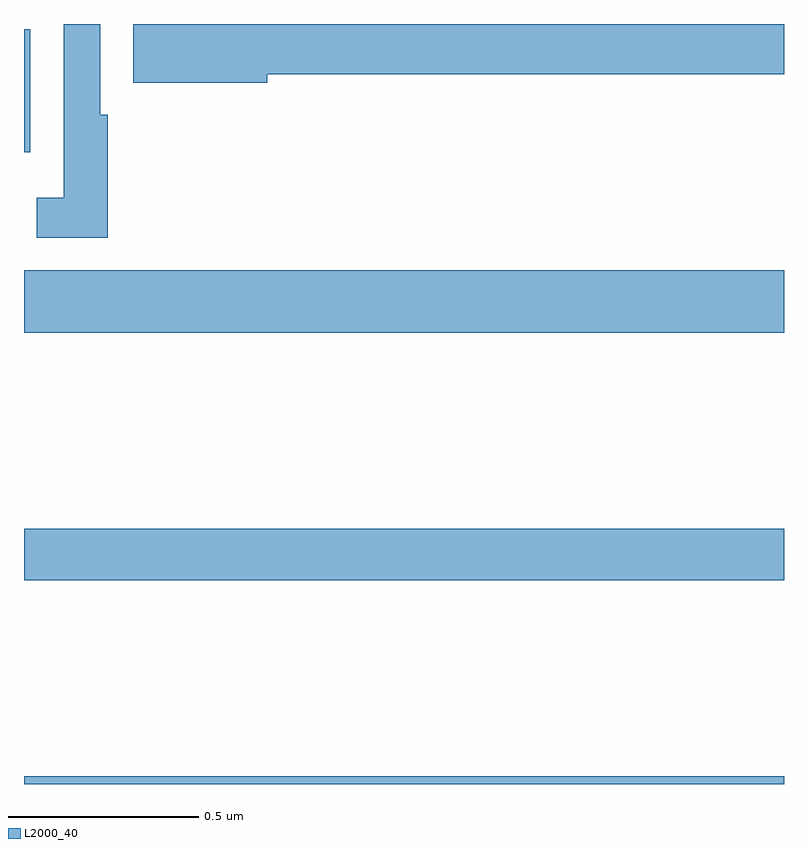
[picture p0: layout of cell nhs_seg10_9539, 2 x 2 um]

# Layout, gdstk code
import gdstk
lib = gdstk.Library(unit=1e-6, precision=1e-09)
def R(c, l, rs):  # rectangles x0, y0, x1, y1
    for r in rs: c.add(gdstk.rectangle(r[:2], r[2:], *l))
def P(c, l, *ps):  # polygons
    for p in ps: c.add(gdstk.Polygon(p, *l))
L2000_40 = (2000, 40)

nhs_seg10_9539 = lib.new_cell('nhs_seg10_9539')
R(nhs_seg10_9539, L2000_40, [(231,1260.5,233,1260.52), (231,1261.036,233,1261.172), (231,1261.688,233,1261.852), (231,1262.163,231.016,1262.486)])
P(nhs_seg10_9539, L2000_40, [(231.64,1262.368),(233,1262.368),(233,1262.5),(231.288,1262.5),(231.288,1262.345),(231.64,1262.345)],
  [(231.221,1262.261),(231.201,1262.261),(231.201,1262.5),(231.105,1262.5),(231.105,1262.043),(231.033,1262.043),(231.033,1261.938),(231.221,1261.938)])

lib.write_gds('nhs_seg10_9539.gds')
